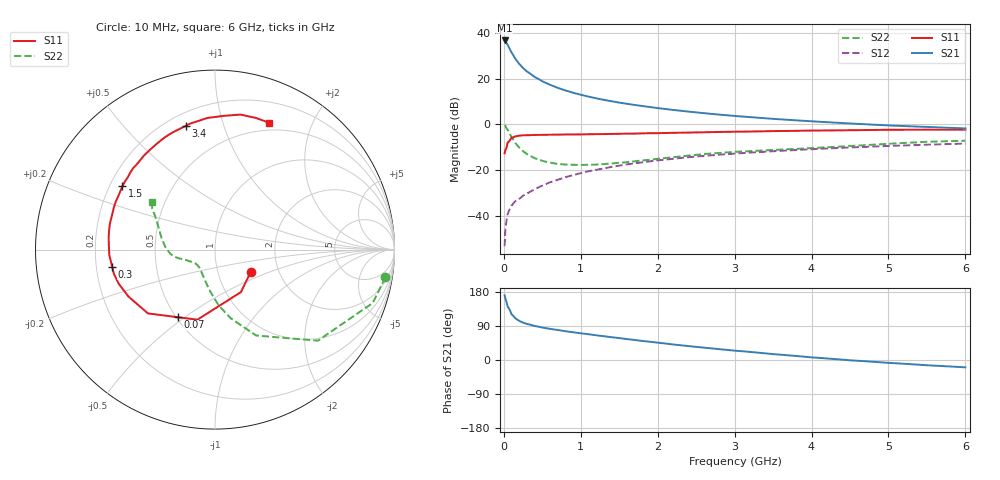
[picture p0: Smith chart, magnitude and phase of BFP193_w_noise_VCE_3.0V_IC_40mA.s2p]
! (c) 2017  Infineon Technologies AG, Munich
! Infineon Technologies  Discrete & RF Semiconductors
! BFP193
! VCE =  3.0 V,  IC =  40 mA
! Common Emitter S-Parameters:  Jan 2017
# GHz  S  MA  R  50
!  f  S11  S21  S12  S22
! GHz  MAG  ANG  MAG  ANG  MAG  ANG  MAG  ANG
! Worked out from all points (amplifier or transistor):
!   77 points, 10 MHz to 6 GHz, reference 50 ohm
!   highest |S21| = 36.7 dB at 10 MHz (marker M1)
!   |S21| within 3 dB of that: start of sweep to 66.09 MHz
!   unconditionally stable (mu >= 1): 613.8 MHz to 2.422 GHz
!   at 130 MHz: K = 0.58, MSG = 32.0 dB, |S12| = -34.2 dB
!   at 2.2 GHz: K = 1.01, MAG = 10.1 dB, |S12| = -15.0 dB
!   at 6 GHz: K = 0.93, MSG = 3.3 dB, |S12| = -8.4 dB
!   lowest NFmin = 1.38 dB at 450 MHz
!   S11 on the Smith chart (normalised r, x): 10 MHz: 1.44, -0.38; 70 MHz: 0.51, -0.47; 300 MHz: 0.27, -0.08; 1.5 GHz: 0.25, +0.29; 3.4 GHz: 0.27, +0.76; 6 GHz: 0.41, +1.43
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0.01  0.2351 -32.2  68.1 170.8  0.0022 89.2  0.9617 -9.2
0.02  0.2772 -58.6  66.83 162.2  0.0051 78.8  0.9278 -18.7
0.05  0.4027 -104.1  54.31 140.9  0.011 64.7  0.7657 -41.5
0.07  0.4303 -118.9  46.81 134.5  0.0134 62.8  0.6601 -48.7
0.1  0.5157 -136.4  37.17 120.5  0.0169 60.9  0.5306 -64.4
0.15  0.549 -151.7  26.96 109.9  0.0211 57.1  0.3917 -77.2
0.2  0.569 -160.4  20.95 103.3  0.0237 58.1  0.3125 -86.1
0.25  0.579 -166.4  17.04 98.5  0.0278 59.3  0.2606 -92.4
0.3  0.5808 -170.6  14.33 95.2  0.0309 63.1  0.2255 -98.1
0.4  0.5898 -177.2  10.9 89.8  0.0383 64.8  0.1835 -107.1
0.5  0.592 177.6  8.757 85.7  0.0462 66.5  0.1604 -114.5
0.6  0.5962 173.5  7.344 82.2  0.0545 66.4  0.1466 -120.8
0.7  0.5993 170.0  6.304 79.2  0.0619 67.1  0.1373 -126.0
0.8  0.603 166.3  5.531 76.0  0.0704 66.9  0.1331 -130.4
1.1  0.6108 157.2  4.051 68.0  0.0948 65.1  0.1315 -141.0
1.5  0.6251 145.7  2.997 57.8  0.1259 60.8  0.1451 -151.8
2.1  0.6498 129.8  2.171 43.5  0.1709 53.5  0.1848 -162.8
3.1  0.6964 108.5  1.488 23.1  0.2364 40.6  0.2566 -177.0
3.4  0.7095 103.1  1.363 17.6  0.2539 37.2  0.2718 178.3
4.1  0.7363 91.8  1.145 5.6  0.2927 28.7  0.3108 165.8
5.1  0.7651 78.1  0.936 -8.7  0.3432 17.2  0.3853 150.4
6  0.7685 67.0  0.818 -19.4  0.3822 7.2  0.4405 143.0
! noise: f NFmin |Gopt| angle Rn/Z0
0.45  1.38  0.38  -172  0.08
0.9  1.43  0.41  -167  0.08
1.9  2.05  0.59  -135  0.2
2.4  2.37  0.63  -120  0.42
